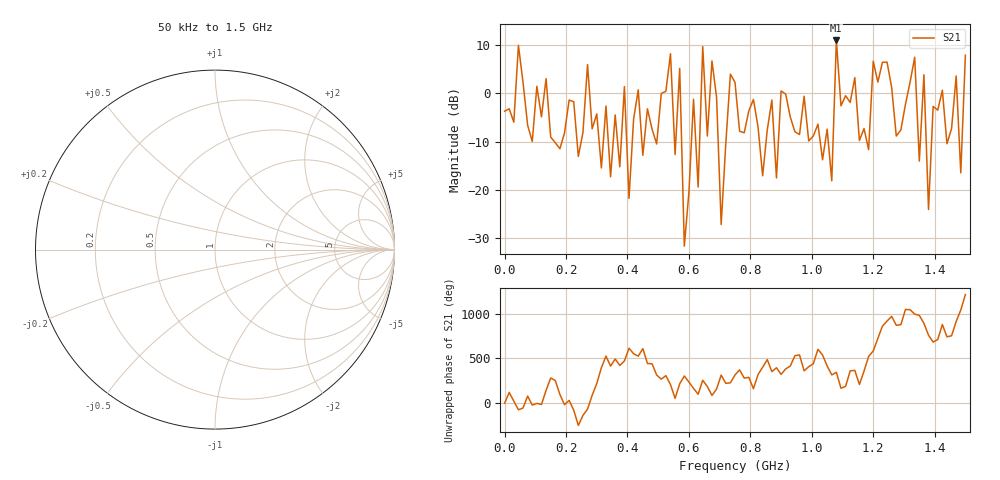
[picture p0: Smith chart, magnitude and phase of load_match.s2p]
! Created with skrf 1.8.0 (http://scikit-rf.org).
# Hz S RI R 50.0
!freq ReS11 ImS11 ReS21 ImS21 ReS12 ImS12 ReS22 ImS22
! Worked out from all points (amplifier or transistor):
!   101 points, 50 kHz to 1.5 GHz, reference 50 ohm
!   highest |S21| = 11.0 dB at 1.08 GHz (marker M1)
!   |S21| within 3 dB of that: 43.18 MHz to 48.9 MHz (5.717 MHz wide, 12.4 % of centre) (the widest 1 of 4)
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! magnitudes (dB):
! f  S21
! 50 kHz  -3.7
! 255 MHz  -8.1
! 390 MHz  1.4
! 405 MHz  -21.8
! 510 MHz  0.0
! 570 MHz  5.2
! 585 MHz  -31.8
! 615 MHz  -1.2
! 630 MHz  -19.5
! 645 MHz  9.7
! 705 MHz  -27.3
! 750 MHz  2.3
! 1.005 GHz  -8.8
! 1.065 GHz  -18.2
! 1.08 GHz  11.0
! 1.26 GHz  1.2
! 1.35 GHz  -14.1
! 1.365 GHz  3.9
! 1.38 GHz  -24.1
! 1.425 GHz  0.7
! 1.485 GHz  -16.5
! 1.5 GHz  8.0
